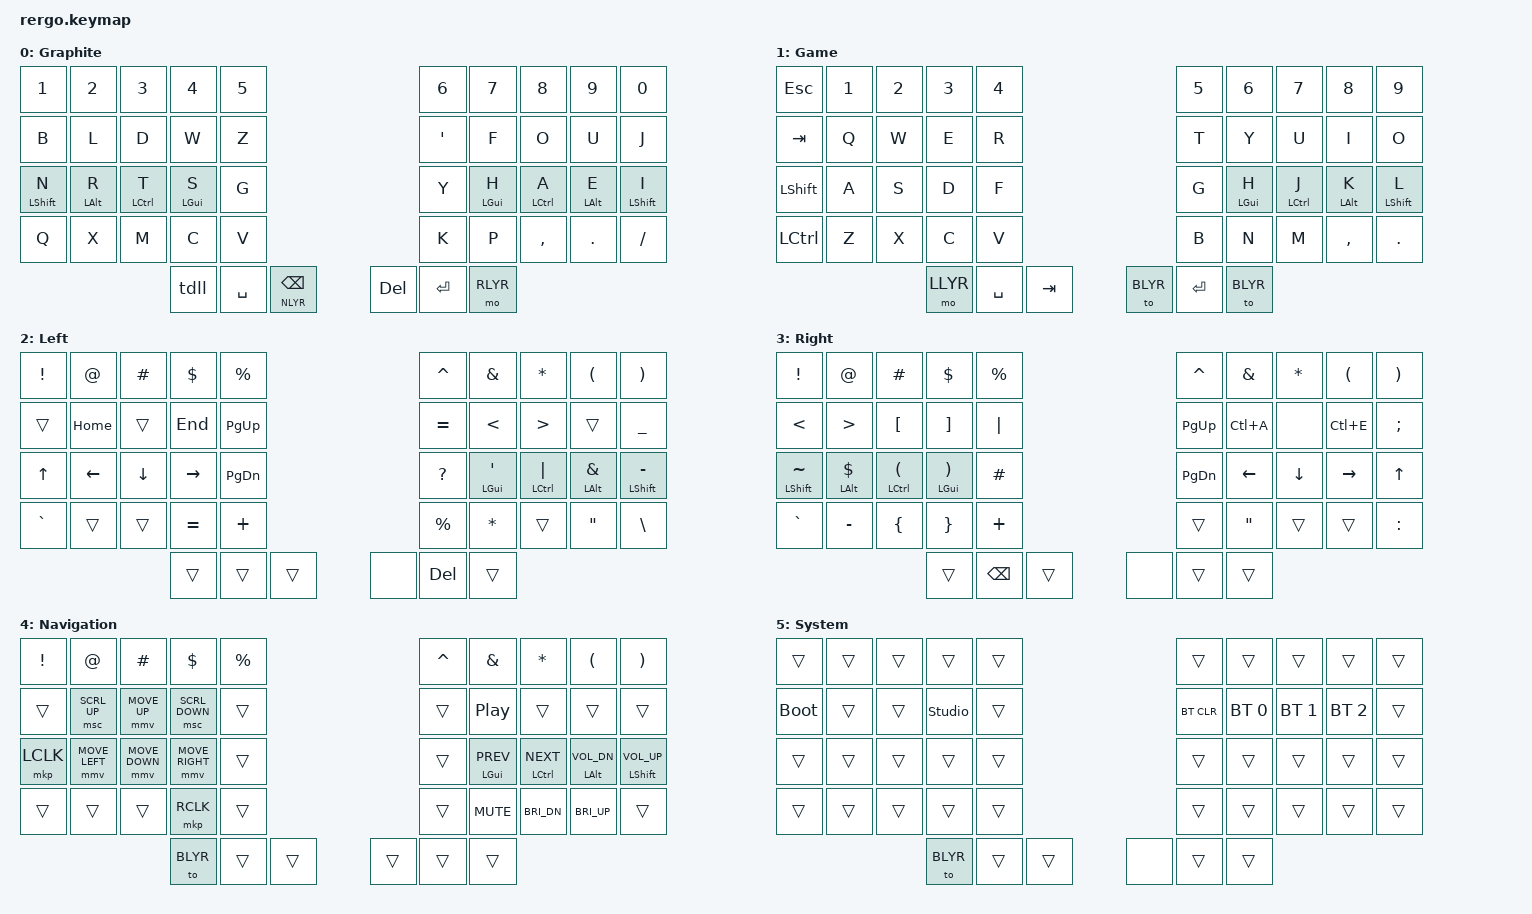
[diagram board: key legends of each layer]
// mouse movement
#define ZMK_POINTING_DEFAULT_MOVE_VAL 1500  // default: 600
#define ZMK_POINTING_DEFAULT_SCRL_VAL 30    // default: 10

#include <behaviors.dtsi>
#include <dt-bindings/zmk/keys.h>
#include <dt-bindings/zmk/bt.h>
#include <dt-bindings/zmk/pointing.h>

&mt {
    flavor = "tap-preferred";
    tapping-term-ms = <190>; // leave at 190
};

// layers
#define BLYR 0
#define GLYR 1
#define LLYR 2
#define RLYR 3
#define NLYR 4
#define SLYR 5

/ {

// ---------------------    ---------------------
// | 0 | 1 | 2 | 3 | 4 |    | 5 | 6 | 7 | 8 | 9 |
// | 10| 11| 12| 13| 14|    | 15| 16| 17| 18| 19|
// | 20| 21| 22| 23| 24|    | 25| 26| 27| 28| 29|
// | 30| 31| 32| 33| 34|    | 35| 36| 37| 38| 39|
// --------| 40| 41| 42|    | 43| 44| 45|--------
//         -------------    -------------
//
// Thumbs: 40 = layer tap-dance, 41 = space, 42 = navigation
//         43 = unused, 44 = enter, 45 = right layer
//
// The number row carries digits on the alpha layers and their shifted
// symbols (! @ # $ % ^ & * ( )) on the symbol/nav layers, so the symbol
// layers no longer need to duplicate them.
//
// Arrows sit entirely in the home row on both symbol layers (as in v3),
// reading PgDn <- v ^ ->: on the left hand in left_layer, on the right hand
// in right_layer, so whichever thumb is held the free hand can navigate.

    combos {
        compatible = "zmk,combos";

        combo_left_esc {
            timeout-ms = <50>;
            key-positions = <10 11>;
            bindings = <&kp ESC>;
        };

        combo_left_del {
            timeout-ms = <50>;
            key-positions = <12 13>;
            bindings = <&kp DEL>;
        };

        combo_left_tab {
            timeout-ms = <50>;
            key-positions = <20 21>;
            bindings = <&kp TAB>;
        };

        combo_left_home_tab {
            // lowered the timeout because it was being triggered too often
            timeout-ms = <20>;
            key-positions = <22 23>;
            bindings = <&kp TAB>;
        };

        combo_left_bspc {
            timeout-ms = <50>;
            key-positions = <32 33>;
            bindings = <&kp BSPC>;
        };
    };

    behaviors {
        tdll: tap_dance_layer_left {
            compatible = "zmk,behavior-tap-dance";
            #binding-cells = <0>;
            tapping-term-ms = <200>;
            bindings = <&mo LLYR>, <&to GLYR>, <&to SLYR>;
        };
    };

    keymap {
        compatible = "zmk,keymap";

// ---------------------    ---------------------
// | 1 | 2 | 3 | 4 | 5 |    | 6 | 7 | 8 | 9 | 0 |
// | b | l | d | w | z |    | ' | f | o | u | j |
// | n | r | t | s | g |    | y | h | a | e | i |
// | q | x | m | c | v |    | k | p | , | . | / |
// --------|TDL|SPC|NAV|    |DEL|RET|RLY|--------
//         -------------    -------------
//         NAV = backspace on tap, navigation layer on hold


        graphite_layer {
            display-name = "Graphite";
            bindings = <
 &kp N1       &kp N2      &kp N3       &kp N4      &kp N5        &kp N6  &kp N7      &kp N8       &kp N9      &kp N0
 &kp B        &kp L       &kp D        &kp W       &kp Z         &kp SQT &kp F       &kp O        &kp U       &kp J
 &mt LSHFT N  &mt LALT R  &mt LCTRL T  &mt LGUI S  &kp G         &kp Y   &mt LGUI H  &mt LCTRL A  &mt LALT E  &mt LSHFT I
 &kp Q        &kp X       &kp M        &kp C       &kp V         &kp K   &kp P       &kp COMMA    &kp DOT     &kp FSLH
                          &tdll        &kp SPACE   &lt NLYR BSPC &kp DEL &kp RET     &mo RLYR
            >;
        };

// ---------------------    ---------------------
// |ESC| 1 | 2 | 3 | 4 |    | 5 | 6 | 7 | 8 | 9 |
// |TAB| q | w | e | r |    | t | y | u | i | o |
// |SFT| a | s | d | f |    | g | h | j | k | l |
// |CTL| z | x | c | v |    | b | n | m | , | . |
// --------|TLR|SPC|BLR|    |XXX|RET|RLY|--------
//         -------------    -------------

        game_layer {
            display-name = "Game";
            bindings = <
 &kp ESC   &kp N1 &kp N2   &kp N3    &kp N4     &kp N5   &kp N6     &kp N7      &kp N8     &kp N9
 &kp TAB   &kp Q  &kp W    &kp E     &kp R      &kp T    &kp Y      &kp U       &kp I      &kp O
 &kp LSHFT &kp A  &kp S    &kp D     &kp F      &kp G    &mt LGUI H &mt LCTRL J &mt LALT K &mt LSHFT L
 &kp LCTRL &kp Z  &kp X    &kp C     &kp V      &kp B    &kp N      &kp M       &kp COMMA  &kp DOT
                  &mo LLYR &kp SPACE &kp TAB    &to BLYR &kp RET    &to BLYR
            >;
        };

// Symbols on the right hand, navigation on the left hand.
// ---------------------    ---------------------
// | ! | @ | # | $ | % |    | ^ | & | * | ( | ) |
// |TRN|HOM|TRN|END|PUP|    | = | < | > | y | _ |
// |UP |LFT|DWN|RGT|PDN|    | ? | ' | | | & | - |
// | ` |TRN|TRN| = | + |    | % | * |TRN| " | \ |
// --------|TRN|TRN|TRN|    |XXX|DEL|TRN|--------
//         -------------    -------------

        left_layer {
            display-name = "Left";
            bindings = <
 &kp EXCL  &kp AT    &kp HASH  &kp DLLR   &kp PRCNT    &kp CARET &kp AMPS     &kp STAR       &kp LPAR      &kp RPAR
 &trans    &kp HOME  &trans    &kp END    &kp PG_UP    &kp EQUAL &kp LT       &kp GT         &trans        &kp UNDER
 &kp UP    &kp LEFT  &kp DOWN  &kp RIGHT  &kp PG_DN    &kp QMARK &mt LGUI SQT &mt LCTRL PIPE &mt LALT AMPS &mt LSHFT MINUS
 &kp GRAVE &trans    &trans    &kp EQUAL  &kp PLUS     &kp PRCNT &kp STAR     &trans         &kp DQT       &kp BSLH
                     &trans    &trans     &trans       &none     &kp DEL      &trans
            >;
        };

// Brackets on the left hand, navigation on the right hand.
// ---------------------    ---------------------
// | ! | @ | # | $ | % |    | ^ | & | * | ( | ) |
// | < | > | [ | ] | | |    |PUP| ^A|XXX| ^E|TRN|
// | ~ | $ | ( | ) | # |    |PDN|LFT|DWN|RGT|UP |
// | ` | - | { | } | + |    |TRN| " |TRN|TRN| : |
// --------|TRN|BSP|TRN|    |XXX|TRN|TRN|--------
//         -------------    -------------

        right_layer {
            display-name = "Right";
            bindings = <
 &kp EXCL        &kp AT        &kp HASH       &kp DLLR      &kp PRCNT    &kp CARET &kp AMPS  &kp STAR &kp LPAR  &kp RPAR
 &kp LT          &kp GT        &kp LBKT       &kp RBKT      &kp PIPE     &kp PG_UP &kp LC(A) &none    &kp LC(E) &kp SEMI
 &mt LSHFT TILDE &mt LALT DLLR &mt LCTRL LPAR &mt LGUI RPAR &kp HASH     &kp PG_DN &kp LEFT  &kp DOWN &kp RIGHT &kp UP
 &kp GRAVE       &kp MINUS     &kp LBRC       &kp RBRC      &kp PLUS     &trans    &kp DQT   &trans   &trans    &kp COLON
                               &trans         &kp BSPC      &trans       &none     &trans    &trans
            >;
        };

// Mouse movement/click on the left hand, mods and media on the right.
// D=up, R=left, T=down, S=right; N=right click, C=left click.
// ---------------------    ---------------------
// | ! | @ | # | $ | % |    | ^ | & | * | ( | ) |
// |TRN|SUP| ^ |SDN|TRN|    |PRV|NXT|VDN|VUP| PP|
// |LCL| < | v | > |TRN|    |TRN|LAL|LCT|LGI|TRN|
// |TRN|TRN|TRN|RCL|TRN|    |TRN|TRN|BDN|BUP|TRN|
// --------|BLR|MUT|TRN|    |XXX|TRN|TRN|--------
//         -------------    -------------

        navigation_layer {
            display-name = "Navigation";
            bindings = <
 &kp EXCL   &kp AT         &kp HASH       &kp DLLR        &kp PRCNT    &kp CARET &kp AMPS        &kp STAR           &kp LPAR          &kp RPAR
 &trans     &msc SCRL_UP   &mmv MOVE_UP   &msc SCRL_DOWN  &trans       &trans    &kp C_PP        &trans             &trans            &trans
 &mkp LCLK  &mmv MOVE_LEFT &mmv MOVE_DOWN &mmv MOVE_RIGHT &trans       &trans    &mt LGUI C_PREV &mt LCTRL C_NEXT   &mt LALT C_VOL_DN &mt LSHFT C_VOL_UP
 &trans     &trans         &trans         &mkp RCLK       &trans       &trans    &kp C_MUTE      &kp C_BRI_DN       &kp C_BRI_UP      &trans
                           &to BLYR       &trans          &trans       &trans    &trans          &trans
            >;
        };

// ---------------------    ---------------------
// |TRN|TRN|TRN|TRN|TRN|    |TRN|TRN|TRN|TRN|TRN|
// |BTL|TRN|TRN|SUL|TRN|    |BCL|BT0|BT1|BT2|TRN|
// |TRN|TRN|TRN|TRN|TRN|    |TRN|TRN|TRN|TRN|TRN|
// |TRN|TRN|TRN|TRN|TRN|    |TRN|TRN|TRN|TRN|TRN|
// --------|BLR|TRN|TRN|    |XXX|TRN|TRN|--------
//         -------------    -------------

        system_layer {
            display-name = "System";
            bindings = <
 &trans      &trans &trans &trans         &trans    &trans     &trans       &trans       &trans       &trans
 &bootloader &trans &trans &studio_unlock &trans    &bt BT_CLR &bt BT_SEL 0 &bt BT_SEL 1 &bt BT_SEL 2 &trans
 &trans      &trans &trans &trans         &trans    &trans     &trans       &trans       &trans       &trans
 &trans      &trans &trans &trans         &trans    &trans     &trans       &trans       &trans       &trans
                    &to BLYR &trans       &trans    &none      &trans       &trans
            >;
        };

    };
};
